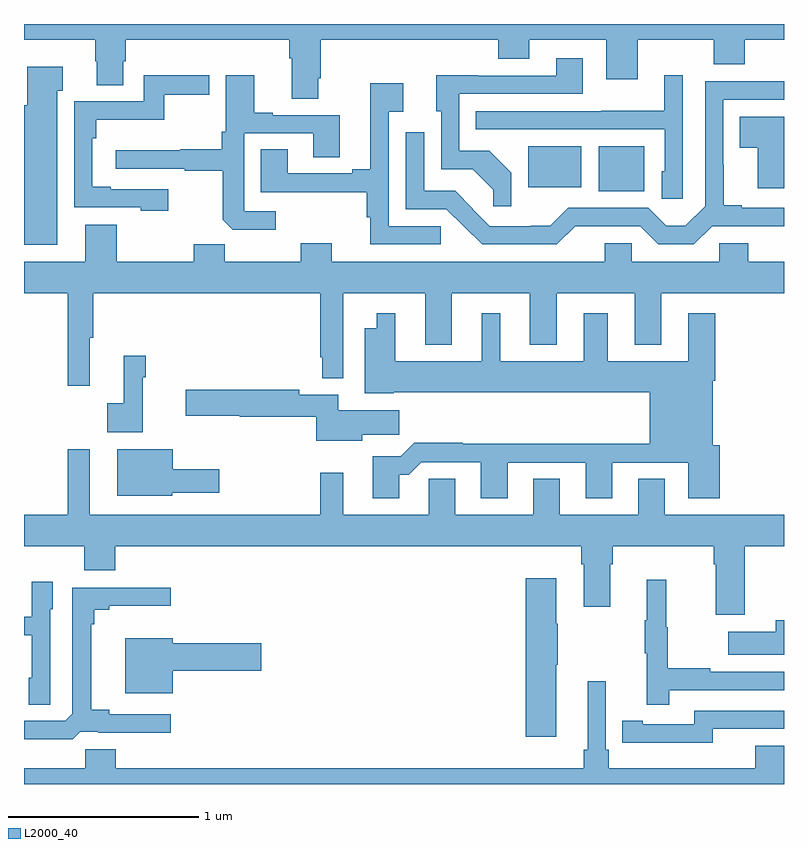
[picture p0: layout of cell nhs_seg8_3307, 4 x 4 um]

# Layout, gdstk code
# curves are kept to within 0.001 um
import gdstk
lib = gdstk.Library(unit=1e-6, precision=1e-09)
def R(c, l, rs):  # rectangles x0, y0, x1, y1
    for r in rs: c.add(gdstk.rectangle(r[:2], r[2:], *l))
def P(c, l, *ps):  # polygons
    for p in ps: c.add(gdstk.Polygon(p, *l))
L2000_40 = (2000, 40)

nhs_seg8_3307 = lib.new_cell('nhs_seg8_3307')
R(nhs_seg8_3307, L2000_40, [(318.026,1133.021,318.265,1133.257), (317.654,1133.042,317.932,1133.257)])
P(nhs_seg8_3307, L2000_40, [(316.549,1133.614),(316.562,1133.614),(316.562,1133.816),(317.495,1133.816),(317.495,1133.717),(317.659,1133.717),(317.659,1133.816),(318.065,1133.816),(318.065,1133.61),(318.229,1133.61),(318.229,1133.816),(318.629,1133.816),(318.629,1133.688),(318.793,1133.688),(318.793,1133.816),(319,1133.816),(319,1133.9),(315,1133.9),(315,1133.816),(315.376,1133.816),(315.376,1133.703),(315.383,1133.703),(315.383,1133.578),(315.523,1133.578),(315.523,1133.703),(315.536,1133.703),(315.536,1133.816),(316.397,1133.816),(316.397,1133.72),(316.409,1133.72),(316.409,1133.506),(316.549,1133.506)],
  [(317.565,1133.116),(317.449,1133.232),(317.292,1133.232),(317.292,1133.532),(317.941,1133.532),(317.941,1133.719),(317.801,1133.719),(317.801,1133.628),(317.389,1133.628),(317.389,1133.63),(317.171,1133.63),(317.171,1133.442),(317.196,1133.442),(317.196,1133.136),(317.362,1133.136),(317.47,1133.028),(317.47,1132.941),(317.565,1132.941)],
  [(315.175,1133.549),(315.205,1133.549),(315.205,1133.674),(315.017,1133.674),(315.017,1133.472),(315,1133.472),(315,1132.739),(315.175,1132.739)],
  [(315.76,1133.031),(315.457,1133.031),(315.457,1133.044),(315.36,1133.044),(315.36,1133.3),(315.38,1133.3),(315.38,1133.396),(315.739,1133.396),(315.739,1133.527),(315.976,1133.527),(315.976,1133.63),(315.63,1133.63),(315.63,1133.493),(315.264,1133.493),(315.264,1132.935),(315.615,1132.935),(315.615,1132.916),(315.76,1132.916)],
  [(316.324,1132.914),(316.158,1132.914),(316.158,1133.325),(316.523,1133.325),(316.523,1133.2),(316.663,1133.2),(316.663,1133.421),(316.309,1133.421),(316.309,1133.434),(316.213,1133.434),(316.213,1133.629),(316.062,1133.629),(316.062,1133.332),(316.042,1133.332),(316.042,1133.24),(315.823,1133.24),(315.823,1133.236),(315.483,1133.236),(315.483,1133.139),(315.847,1133.139),(315.847,1133.127),(316.047,1133.127),(316.047,1132.869),(316.099,1132.818),(316.324,1132.818)],
  [(318.468,1133.629),(318.371,1133.629),(318.371,1133.443),(318.037,1133.443),(318.037,1133.442),(317.377,1133.442),(317.377,1133.346),(318.372,1133.346),(318.372,1133.124),(318.356,1133.124),(318.356,1132.981),(318.468,1132.981)],
  [(317.9,1132.835),(318.243,1132.836),(318.339,1132.74),(318.526,1132.74),(318.622,1132.836),(319,1132.835),(319,1132.932),(318.778,1132.932),(318.778,1132.945),(318.683,1132.945),(318.683,1133.159),(318.681,1133.159),(318.681,1133.502),(319,1133.502),(319,1133.6),(318.889,1133.6),(318.889,1133.598),(318.585,1133.598),(318.585,1132.941),(318.481,1132.837),(318.38,1132.837),(318.285,1132.932),(317.865,1132.932),(317.771,1132.838),(317.666,1132.838),(317.666,1132.836),(317.451,1132.836),(317.361,1132.926),(317.363,1132.928),(317.269,1133.022),(317.106,1133.022),(317.106,1133.329),(317.01,1133.329),(317.01,1132.926),(317.223,1132.926),(317.411,1132.74),(317.805,1132.74)],
  [(317.193,1132.836),(316.92,1132.836),(316.92,1133.438),(316.996,1133.438),(316.996,1133.587),(316.823,1133.587),(316.823,1133.135),(316.727,1133.135),(316.727,1133.115),(316.387,1133.115),(316.387,1133.24),(316.247,1133.24),(316.247,1133.014),(316.804,1133.014),(316.804,1132.883),(316.823,1132.883),(316.823,1132.74),(317.193,1132.74)],
  [(319,1133.413),(318.766,1133.413),(318.766,1133.248),(318.863,1133.248),(318.863,1133.036),(319,1133.036)],
  [(315.347,1132.248),(315.365,1132.248),(315.365,1132.484),(316.56,1132.484),(316.56,1132.147),(316.57,1132.147),(316.57,1132.035),(316.681,1132.035),(316.681,1132.484),(317.111,1132.484),(317.111,1132.211),(317.251,1132.211),(317.251,1132.484),(317.663,1132.484),(317.663,1132.211),(317.803,1132.211),(317.803,1132.484),(318.215,1132.484),(318.215,1132.211),(318.355,1132.211),(318.355,1132.484),(319,1132.484),(319,1132.648),(318.812,1132.648),(318.812,1132.746),(318.66,1132.746),(318.66,1132.648),(318.198,1132.648),(318.198,1132.746),(318.056,1132.746),(318.056,1132.648),(316.621,1132.648),(316.621,1132.747),(316.457,1132.747),(316.457,1132.648),(316.057,1132.648),(316.057,1132.741),(315.893,1132.741),(315.893,1132.648),(315.487,1132.648),(315.487,1132.843),(315.323,1132.843),(315.323,1132.648),(315,1132.648),(315,1132.484),(315.229,1132.484),(315.229,1131.996),(315.347,1131.996)],
  [(316.975,1131.527),(317.024,1131.527),(317.091,1131.594),(317.405,1131.594),(317.405,1131.405),(317.545,1131.405),(317.545,1131.591),(317.957,1131.591),(317.957,1131.405),(318.097,1131.405),(318.097,1131.591),(318.497,1131.591),(318.497,1131.405),(318.662,1131.405),(318.662,1131.684),(318.625,1131.684),(318.625,1132.022),(318.638,1132.022),(318.638,1132.378),(318.497,1132.378),(318.497,1132.126),(318.073,1132.126),(318.073,1132.378),(317.945,1132.378),(317.945,1132.126),(317.506,1132.126),(317.506,1132.378),(317.408,1132.378),(317.408,1132.126),(316.954,1132.126),(316.954,1132.378),(316.856,1132.378),(316.856,1132.3),(316.793,1132.3),(316.793,1131.956),(316.947,1131.956),(316.947,1131.962),(318.293,1131.962),(318.293,1131.692),(317.309,1131.692),(317.309,1131.695),(317.054,1131.695),(316.984,1131.625),(316.835,1131.625),(316.835,1131.405),(316.975,1131.405)],
  [(315.624,1132.04),(315.641,1132.04),(315.641,1132.153),(315.524,1132.153),(315.524,1131.905),(315.438,1131.905),(315.438,1131.752),(315.624,1131.752)],
  [(316.78,1131.739),(316.975,1131.739),(316.975,1131.868),(316.654,1131.868),(316.654,1131.948),(316.448,1131.948),(316.448,1131.974),(315.852,1131.974),(315.852,1131.839),(316.136,1131.839),(316.136,1131.832),(316.537,1131.832),(316.537,1131.707),(316.78,1131.707)],
  [(315.78,1131.434),(316.027,1131.434),(316.027,1131.556),(315.784,1131.556),(315.784,1131.661),(315.491,1131.661),(315.491,1131.416),(315.78,1131.416)],
  [(317.821,1131.506),(317.681,1131.506),(317.681,1131.316),(317.269,1131.316),(317.269,1131.506),(317.13,1131.506),(317.13,1131.316),(316.681,1131.316),(316.681,1131.538),(316.56,1131.538),(316.56,1131.316),(315.346,1131.316),(315.346,1131.661),(315.229,1131.661),(315.229,1131.316),(315,1131.316),(315,1131.152),(315.317,1131.152),(315.317,1131.024),(315.481,1131.024),(315.481,1131.152),(317.933,1131.152),(317.933,1131.056),(317.945,1131.056),(317.945,1130.832),(318.085,1130.832),(318.085,1131.056),(318.098,1131.056),(318.098,1131.152),(318.629,1131.152),(318.629,1131.056),(318.641,1131.056),(318.641,1130.79),(318.794,1130.79),(318.794,1131.152),(319,1131.152),(319,1131.316),(318.373,1131.316),(318.373,1131.506),(318.233,1131.506),(318.233,1131.316),(317.821,1131.316)],
  [(317.8,1130.527),(317.808,1130.527),(317.808,1130.744),(317.8,1130.744),(317.8,1130.983),(317.642,1130.983),(317.642,1130.148),(317.8,1130.148)],
  [(318.395,1130.394),(319,1130.394),(319,1130.49),(318.611,1130.49),(318.611,1130.51),(318.388,1130.51),(318.388,1130.724),(318.38,1130.724),(318.38,1130.974),(318.278,1130.974),(318.278,1130.761),(318.267,1130.761),(318.267,1130.587),(318.278,1130.587),(318.278,1130.316),(318.395,1130.316)],
  [(315.138,1130.82),(315.151,1130.82),(315.151,1130.965),(315.042,1130.965),(315.042,1130.779),(315,1130.779),(315,1130.682),(315.042,1130.682),(315.042,1130.46),(315.026,1130.46),(315.026,1130.317),(315.138,1130.317)],
  [(315.297,1130.175),(315.391,1130.175),(315.391,1130.171),(315.772,1130.171),(315.772,1130.268),(315.448,1130.268),(315.448,1130.291),(315.353,1130.291),(315.353,1130.741),(315.371,1130.741),(315.371,1130.818),(315.448,1130.818),(315.448,1130.837),(315.772,1130.837),(315.772,1130.934),(315.255,1130.934),(315.255,1130.271),(315.216,1130.232),(315,1130.232),(315,1130.136),(315.257,1130.136)],
  [(319,1130.761),(318.956,1130.761),(318.956,1130.701),(318.707,1130.701),(318.707,1130.579),(319,1130.579)],
  [(315.784,1130.495),(316.249,1130.495),(316.249,1130.642),(315.784,1130.642),(315.784,1130.668),(315.533,1130.668),(315.533,1130.378),(315.784,1130.378)],
  [(319,1130.101),(318.848,1130.101),(318.848,1129.984),(318.077,1129.984),(318.077,1130.08),(318.063,1130.08),(318.063,1130.44),(317.966,1130.44),(317.966,1130.08),(317.947,1130.08),(317.947,1129.984),(315.482,1129.984),(315.482,1130.082),(315.322,1130.082),(315.322,1129.984),(315,1129.984),(315,1129.9),(319,1129.9)],
  [(318.624,1130.19),(319,1130.19),(319,1130.286),(318.528,1130.286),(318.528,1130.214),(318.256,1130.214),(318.256,1130.234),(318.148,1130.234),(318.148,1130.118),(318.256,1130.118),(318.256,1130.117),(318.624,1130.117)])

lib.write_gds('nhs_seg8_3307.gds')
